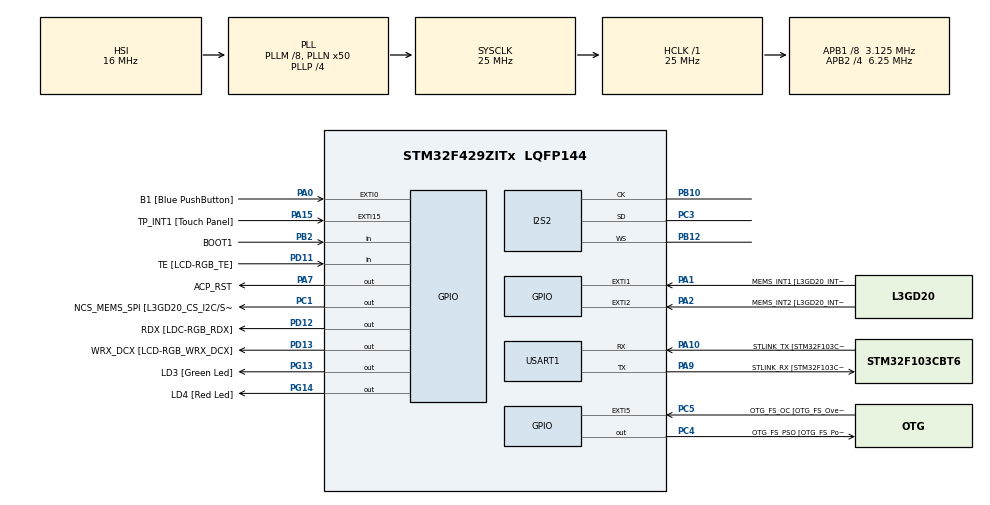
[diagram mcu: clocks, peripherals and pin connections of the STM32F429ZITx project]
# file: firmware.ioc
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Dma.Request0=SPI2_RX
Dma.SPI2_RX.0.Direction=DMA_PERIPH_TO_MEMORY
Dma.SPI2_RX.0.FIFOMode=DMA_FIFOMODE_DISABLE
Dma.SPI2_RX.0.Instance=DMA1_Stream3
Dma.SPI2_RX.0.MemDataAlignment=DMA_MDATAALIGN_WORD
Dma.SPI2_RX.0.MemInc=DMA_MINC_ENABLE
Dma.SPI2_RX.0.Mode=DMA_CIRCULAR
Dma.SPI2_RX.0.PeriphDataAlignment=DMA_PDATAALIGN_WORD
Dma.SPI2_RX.0.PeriphInc=DMA_PINC_DISABLE
Dma.SPI2_RX.0.Priority=DMA_PRIORITY_HIGH
I2S2.AudioFreq=I2S_AUDIOFREQ_16K
I2S2.DataFormat=I2S_DATAFORMAT_24B
I2S2.ErrorAudioFreq=-0.26 %
I2S2.FullDuplexMode=I2S_FULLDUPLEXMODE_DISABLE
I2S2.Instance=SPI$Index
I2S2.Mode=I2S_MODE_MASTER_RX
I2S2.RealAudioFreq=15.957 KHz
I2S2.VirtualMode=I2S_MODE_MASTER
Mcu.Family=STM32F4
Mcu.Name=STM32F429ZITx
Mcu.Package=LQFP144
NVIC.DMA1_Stream3_IRQn=true\:0\:0\:false\:false\:true\:false\:true\:true
NVIC.PriorityGroup=NVIC_PRIORITYGROUP_0
NVIC.SPI2_IRQn=true\:0\:0\:false\:false\:true\:true\:true\:true
PA0/WKUP.GPIO_Label=B1 [Blue PushButton]
PA0/WKUP.GPIO_ModeDefaultEXTI=GPIO_MODE_EVT_RISING
PA0/WKUP.GPIO_PuPd=GPIO_NOPULL
PA0/WKUP.Signal=GPXTI0
PA1.GPIO_Label=MEMS_INT1 [L3GD20_INT1]
PA1.GPIO_ModeDefaultEXTI=GPIO_MODE_EVT_RISING
PA1.GPIO_PuPd=GPIO_NOPULL
PA1.Signal=GPXTI1
PA10.GPIO_Label=STLINK_TX [STM32F103CBT6_PA2]
PA10.Mode=Asynchronous
PA10.Signal=USART1_RX
PA13.GPIO_Label=SWDIO
PA13.Signal=SYS_JTMS-SWDIO
PA14.GPIO_Label=SWCLK
PA14.Signal=SYS_JTCK-SWCLK
PA15.GPIO_Label=TP_INT1 [Touch Panel]
PA15.GPIO_ModeDefaultEXTI=GPIO_MODE_EVT_RISING
PA15.GPIO_PuPd=GPIO_NOPULL
PA15.Signal=GPXTI15
PA2.GPIO_Label=MEMS_INT2 [L3GD20_INT2]
PA2.GPIO_ModeDefaultEXTI=GPIO_MODE_EVT_RISING
PA2.GPIO_PuPd=GPIO_NOPULL
PA2.Signal=GPXTI2
PA3.GPIO_Label=B5
PA3.GPIO_Mode=GPIO_MODE_AF_PP
PA3.GPIO_PuPd=GPIO_NOPULL
PA3.GPIO_Speed=GPIO_SPEED_FREQ_LOW
PA3.Signal=LTDC_B5
PA4.GPIO_Label=VSYNC
PA4.GPIO_Mode=GPIO_MODE_AF_PP
PA4.GPIO_PuPd=GPIO_NOPULL
PA4.GPIO_Speed=GPIO_SPEED_FREQ_LOW
PA4.Signal=LTDC_VSYNC
PA6.GPIO_Label=G2
PA6.GPIO_Mode=GPIO_MODE_AF_PP
PA6.GPIO_PuPd=GPIO_NOPULL
PA6.GPIO_Speed=GPIO_SPEED_FREQ_LOW
PA6.Signal=LTDC_G2
PA7.GPIO_Label=ACP_RST
PA7.GPIO_Mode=GPIO_MODE_OUTPUT_PP
PA7.GPIO_PuPd=GPIO_NOPULL
PA7.GPIO_Speed=GPIO_SPEED_FREQ_LOW
PA7.Signal=GPIO_Output
PA9.GPIO_Label=STLINK_RX [STM32F103CBT6_PA3]
PA9.Mode=Asynchronous
PA9.Signal=USART1_TX
PB0.GPIO_Label=R3
PB0.GPIO_Mode=GPIO_MODE_AF_PP
PB0.GPIO_PuPd=GPIO_NOPULL
PB0.GPIO_Speed=GPIO_SPEED_FREQ_LOW
PB0.Signal=LTDC_R3
PB1.GPIO_Label=R6
PB1.GPIO_Mode=GPIO_MODE_AF_PP
PB1.GPIO_PuPd=GPIO_NOPULL
PB1.GPIO_Speed=GPIO_SPEED_FREQ_LOW
PB1.Signal=LTDC_R6
PB10.Mode=Half_Duplex_Master
PB10.Signal=I2S2_CK
PB11.GPIO_Label=G5
PB11.GPIO_Mode=GPIO_MODE_AF_PP
PB11.GPIO_PuPd=GPIO_NOPULL
PB11.GPIO_Speed=GPIO_SPEED_FREQ_LOW
PB11.Signal=LTDC_G5
PB12.Mode=Half_Duplex_Master
PB12.Signal=I2S2_WS
PB13.GPIO_Label=VBUS_HS
PB13.GPIO_Mode=GPIO_MODE_INPUT
PB13.GPIO_PuPd=GPIO_NOPULL
PB13.Signal=USB_OTG_HS_VBUS
PB14.GPIO_Label=OTG_HS_DM
PB14.GPIO_Mode=GPIO_MODE_AF_PP
PB14.GPIO_PuPd=GPIO_NOPULL
PB14.GPIO_Speed=GPIO_SPEED_FREQ_LOW
PB14.Signal=USB_OTG_HS_DM
PB15.GPIO_Label=OTG_HS_DP
PB15.GPIO_Mode=GPIO_MODE_AF_PP
PB15.GPIO_PuPd=GPIO_NOPULL
PB15.GPIO_Speed=GPIO_SPEED_FREQ_LOW
PB15.Signal=USB_OTG_HS_DP
PB2/BOOT1.GPIO_Label=BOOT1
PB2/BOOT1.GPIO_Mode=GPIO_MODE_INPUT
PB2/BOOT1.GPIO_PuPd=GPIO_NOPULL
PB2/BOOT1.Signal=GPIO_Input
PB5.GPIO_Label=SDCKE1
PB5.GPIO_Mode=GPIO_MODE_AF_PP
PB5.GPIO_PuPd=GPIO_NOPULL
PB5.GPIO_Speed=GPIO_SPEED_FREQ_VERY_HIGH
PB5.Signal=FMC_SDCKE1
PB6.GPIO_Label=SDNE1 [SDRAM_CS]
PB6.GPIO_Mode=GPIO_MODE_AF_PP
PB6.GPIO_PuPd=GPIO_NOPULL
PB6.GPIO_Speed=GPIO_SPEED_FREQ_VERY_HIGH
PB6.Signal=FMC_SDNE1
PB8.GPIO_Label=B6
PB8.GPIO_Mode=GPIO_MODE_AF_PP
PB8.GPIO_PuPd=GPIO_NOPULL
PB8.GPIO_Speed=GPIO_SPEED_FREQ_LOW
PB8.Signal=LTDC_B6
PB9.GPIO_Label=B7
PB9.GPIO_Mode=GPIO_MODE_AF_PP
PB9.GPIO_PuPd=GPIO_NOPULL
PB9.GPIO_Speed=GPIO_SPEED_FREQ_LOW
PB9.Signal=LTDC_B7
PC0.GPIO_Label=SDNWE
PC0.GPIO_Mode=GPIO_MODE_AF_PP
PC0.GPIO_PuPd=GPIO_NOPULL
PC0.GPIO_Speed=GPIO_SPEED_FREQ_VERY_HIGH
PC0.Signal=FMC_SDNWE
PC1.GPIO_Label=NCS_MEMS_SPI [L3GD20_CS_I2C/SPI]
PC1.GPIO_Mode=GPIO_MODE_OUTPUT_PP
PC1.GPIO_PuPd=GPIO_NOPULL
PC1.GPIO_Speed=GPIO_SPEED_FREQ_LOW
PC1.Signal=GPIO_Output
PC10.GPIO_Label=R2
PC10.GPIO_Mode=GPIO_MODE_AF_PP
PC10.GPIO_PuPd=GPIO_NOPULL
PC10.GPIO_Speed=GPIO_SPEED_FREQ_LOW
PC10.Signal=LTDC_R2
PC14/OSC32_IN.GPIO_Label=PC14-OSC32_IN
PC14/OSC32_IN.Signal=RCC_OSC32_IN
PC15/OSC32_OUT.GPIO_Label=PC15-OSC32_OUT
PC15/OSC32_OUT.Signal=RCC_OSC32_OUT
PC3.Mode=Half_Duplex_Master
PC3.Signal=I2S2_SD
PC4.GPIO_Label=OTG_FS_PSO [OTG_FS_PowerSwitchOn]
PC4.GPIO_Mode=GPIO_MODE_OUTPUT_PP
PC4.GPIO_PuPd=GPIO_NOPULL
PC4.GPIO_Speed=GPIO_SPEED_FREQ_LOW
PC4.Signal=GPIO_Output
PC5.GPIO_Label=OTG_FS_OC [OTG_FS_OverCurrent]
PC5.GPIO_ModeDefaultEXTI=GPIO_MODE_EVT_RISING
PC5.Signal=GPXTI5
PC7.GPIO_Label=G6
PC7.GPIO_Mode=GPIO_MODE_AF_PP
PC7.GPIO_PuPd=GPIO_NOPULL
PC7.GPIO_Speed=GPIO_SPEED_FREQ_LOW
PC7.Signal=LTDC_G6
PC9.GPIO_Label=I2C3_SDA [ACP/RF_SDA]
PC9.GPIO_Mode=GPIO_MODE_AF_OD
PC9.GPIO_PuPd=GPIO_NOPULL
PC9.GPIO_Speed=GPIO_SPEED_FREQ_LOW
PC9.Signal=I2C3_SDA
PD0.GPIO_Label=D2
PD0.GPIO_Mode=GPIO_MODE_AF_PP
PD0.GPIO_PuPd=GPIO_NOPULL
PD0.GPIO_Speed=GPIO_SPEED_FREQ_VERY_HIGH
PD0.Signal=FMC_D2_DA2
PD1.GPIO_Label=D3
PD1.GPIO_Mode=GPIO_MODE_AF_PP
PD1.GPIO_PuPd=GPIO_NOPULL
PD1.GPIO_Speed=GPIO_SPEED_FREQ_VERY_HIGH
PD1.Signal=FMC_D3_DA3
PD10.GPIO_Label=D15
PD10.GPIO_Mode=GPIO_MODE_AF_PP
PD10.GPIO_PuPd=GPIO_NOPULL
PD10.GPIO_Speed=GPIO_SPEED_FREQ_VERY_HIGH
PD10.Signal=FMC_D15_DA15
PD11.GPIO_Label=TE [LCD-RGB_TE]
PD11.GPIO_Mode=GPIO_MODE_INPUT
PD11.GPIO_PuPd=GPIO_NOPULL
PD11.Signal=GPIO_Input
PD12.GPIO_Label=RDX [LDC-RGB_RDX]
PD12.GPIO_Mode=GPIO_MODE_OUTPUT_PP
PD12.GPIO_PuPd=GPIO_NOPULL
PD12.GPIO_Speed=GPIO_SPEED_FREQ_LOW
PD12.Signal=GPIO_Output
PD13.GPIO_Label=WRX_DCX [LCD-RGB_WRX_DCX]
PD13.GPIO_Mode=GPIO_MODE_OUTPUT_PP
PD13.GPIO_PuPd=GPIO_NOPULL
PD13.GPIO_Speed=GPIO_SPEED_FREQ_LOW
PD13.Signal=GPIO_Output
PD14.GPIO_Label=D0
PD14.GPIO_Mode=GPIO_MODE_AF_PP
PD14.GPIO_PuPd=GPIO_NOPULL
PD14.GPIO_Speed=GPIO_SPEED_FREQ_VERY_HIGH
PD14.Signal=FMC_D0_DA0
PD15.GPIO_Label=D1
PD15.GPIO_Mode=GPIO_MODE_AF_PP
PD15.GPIO_PuPd=GPIO_NOPULL
PD15.GPIO_Speed=GPIO_SPEED_FREQ_VERY_HIGH
PD15.Signal=FMC_D1_DA1
PD3.GPIO_Label=G7
PD3.GPIO_Mode=GPIO_MODE_AF_PP
PD3.GPIO_PuPd=GPIO_NOPULL
PD3.GPIO_Speed=GPIO_SPEED_FREQ_LOW
PD3.Signal=LTDC_G7
PD6.GPIO_Label=B2
PD6.GPIO_Mode=GPIO_MODE_AF_PP
PD6.GPIO_PuPd=GPIO_NOPULL
PD6.GPIO_Speed=GPIO_SPEED_FREQ_LOW
PD6.Signal=LTDC_B2
PD8.GPIO_Label=D13
PD8.GPIO_Mode=GPIO_MODE_AF_PP
PD8.GPIO_PuPd=GPIO_NOPULL
PD8.GPIO_Speed=GPIO_SPEED_FREQ_VERY_HIGH
PD8.Signal=FMC_D13_DA13
PD9.GPIO_Label=D14
PD9.GPIO_Mode=GPIO_MODE_AF_PP
PD9.GPIO_PuPd=GPIO_NOPULL
PD9.GPIO_Speed=GPIO_SPEED_FREQ_VERY_HIGH
PD9.Signal=FMC_D14_DA14
PE0.GPIO_Label=NBL0 [SDRAM_LDQM]
PE0.GPIO_Mode=GPIO_MODE_AF_PP
PE0.GPIO_PuPd=GPIO_NOPULL
PE0.GPIO_Speed=GPIO_SPEED_FREQ_VERY_HIGH
PE0.Signal=FMC_NBL0
PE1.GPIO_Label=NBL1 [SDRAM_UDQM]
PE1.GPIO_Mode=GPIO_MODE_AF_PP
PE1.GPIO_PuPd=GPIO_NOPULL
PE1.GPIO_Speed=GPIO_SPEED_FREQ_VERY_HIGH
PE1.Signal=FMC_NBL1
PE10.GPIO_Label=D7
PE10.GPIO_Mode=GPIO_MODE_AF_PP
PE10.GPIO_PuPd=GPIO_NOPULL
PE10.GPIO_Speed=GPIO_SPEED_FREQ_VERY_HIGH
PE10.Signal=FMC_D7_DA7
PE11.GPIO_Label=D8
PE11.GPIO_Mode=GPIO_MODE_AF_PP
PE11.GPIO_PuPd=GPIO_NOPULL
PE11.GPIO_Speed=GPIO_SPEED_FREQ_VERY_HIGH
PE11.Signal=FMC_D8_DA8
PE12.GPIO_Label=D9
PE12.GPIO_Mode=GPIO_MODE_AF_PP
PE12.GPIO_PuPd=GPIO_NOPULL
PE12.GPIO_Speed=GPIO_SPEED_FREQ_VERY_HIGH
PE12.Signal=FMC_D9_DA9
PE13.GPIO_Label=D10
PE13.GPIO_Mode=GPIO_MODE_AF_PP
PE13.GPIO_PuPd=GPIO_NOPULL
PE13.GPIO_Speed=GPIO_SPEED_FREQ_VERY_HIGH
PE13.Signal=FMC_D10_DA10
PE14.GPIO_Label=D11
PE14.GPIO_Mode=GPIO_MODE_AF_PP
PE14.GPIO_PuPd=GPIO_NOPULL
PE14.GPIO_Speed=GPIO_SPEED_FREQ_VERY_HIGH
PE14.Signal=FMC_D11_DA11
PE15.GPIO_Label=D12
PE15.GPIO_Mode=GPIO_MODE_AF_PP
PE15.GPIO_PuPd=GPIO_NOPULL
PE15.GPIO_Speed=GPIO_SPEED_FREQ_VERY_HIGH
PE15.Signal=FMC_D12_DA12
PE7.GPIO_Label=D4
PE7.GPIO_Mode=GPIO_MODE_AF_PP
PE7.GPIO_PuPd=GPIO_NOPULL
PE7.GPIO_Speed=GPIO_SPEED_FREQ_VERY_HIGH
PE7.Signal=FMC_D4_DA4
PE8.GPIO_Label=D5
PE8.GPIO_Mode=GPIO_MODE_AF_PP
PE8.GPIO_PuPd=GPIO_NOPULL
PE8.GPIO_Speed=GPIO_SPEED_FREQ_VERY_HIGH
PE8.Signal=FMC_D5_DA5
PE9.GPIO_Label=D6
PE9.GPIO_Mode=GPIO_MODE_AF_PP
PE9.GPIO_PuPd=GPIO_NOPULL
PE9.GPIO_Speed=GPIO_SPEED_FREQ_VERY_HIGH
PE9.Signal=FMC_D6_DA6
PF0.GPIO_Label=A0
PF0.GPIO_Mode=GPIO_MODE_AF_PP
PF0.GPIO_PuPd=GPIO_NOPULL
PF0.GPIO_Speed=GPIO_SPEED_FREQ_VERY_HIGH
PF0.Signal=FMC_A0
PF1.GPIO_Label=A1
PF1.GPIO_Mode=GPIO_MODE_AF_PP
PF1.GPIO_PuPd=GPIO_NOPULL
PF1.GPIO_Speed=GPIO_SPEED_FREQ_VERY_HIGH
PF1.Signal=FMC_A1
PF10.GPIO_Label=ENABLE [LCD-RGB_ENABLE]
PF10.GPIO_Mode=GPIO_MODE_AF_PP
PF10.GPIO_PuPd=GPIO_NOPULL
PF10.GPIO_Speed=GPIO_SPEED_FREQ_LOW
PF10.Signal=LTDC_DE
PF11.GPIO_Label=SDNRAS
PF11.GPIO_Mode=GPIO_MODE_AF_PP
PF11.GPIO_PuPd=GPIO_NOPULL
PF11.GPIO_Speed=GPIO_SPEED_FREQ_VERY_HIGH
PF11.Signal=FMC_SDNRAS
PF12.GPIO_Label=A6
PF12.GPIO_Mode=GPIO_MODE_AF_PP
PF12.GPIO_PuPd=GPIO_NOPULL
PF12.GPIO_Speed=GPIO_SPEED_FREQ_VERY_HIGH
PF12.Signal=FMC_A6
PF13.GPIO_Label=A7
PF13.GPIO_Mode=GPIO_MODE_AF_PP
PF13.GPIO_PuPd=GPIO_NOPULL
PF13.GPIO_Speed=GPIO_SPEED_FREQ_VERY_HIGH
PF13.Signal=FMC_A7
PF14.GPIO_Label=A8
PF14.GPIO_Mode=GPIO_MODE_AF_PP
PF14.GPIO_PuPd=GPIO_NOPULL
PF14.GPIO_Speed=GPIO_SPEED_FREQ_VERY_HIGH
PF14.Signal=FMC_A8
PF15.GPIO_Label=A9
PF15.GPIO_Mode=GPIO_MODE_AF_PP
PF15.GPIO_PuPd=GPIO_NOPULL
PF15.GPIO_Speed=GPIO_SPEED_FREQ_VERY_HIGH
PF15.Signal=FMC_A9
PF2.GPIO_Label=A2
PF2.GPIO_Mode=GPIO_MODE_AF_PP
PF2.GPIO_PuPd=GPIO_NOPULL
PF2.GPIO_Speed=GPIO_SPEED_FREQ_VERY_HIGH
PF2.Signal=FMC_A2
PF3.GPIO_Label=A3
PF3.GPIO_Mode=GPIO_MODE_AF_PP
PF3.GPIO_PuPd=GPIO_NOPULL
PF3.GPIO_Speed=GPIO_SPEED_FREQ_VERY_HIGH
PF3.Signal=FMC_A3
PF4.GPIO_Label=A4
PF4.GPIO_Mode=GPIO_MODE_AF_PP
PF4.GPIO_PuPd=GPIO_NOPULL
PF4.GPIO_Speed=GPIO_SPEED_FREQ_VERY_HIGH
PF4.Signal=FMC_A4
PF5.GPIO_Label=A5
PF5.GPIO_Mode=GPIO_MODE_AF_PP
PF5.GPIO_PuPd=GPIO_NOPULL
PF5.GPIO_Speed=GPIO_SPEED_FREQ_VERY_HIGH
PF5.Signal=FMC_A5
PF7.GPIO_Label=SPI5_SCK [L3GD20_SCL/SPC]
PF7.GPIO_Mode=GPIO_MODE_AF_PP
PF7.GPIO_PuPd=GPIO_NOPULL
PF7.GPIO_Speed=GPIO_SPEED_FREQ_LOW
PF7.Signal=SPI5_SCK
PF8.GPIO_Label=SPI5_MISO [L3GD20_SDO]
PF8.GPIO_Mode=GPIO_MODE_AF_PP
PF8.GPIO_PuPd=GPIO_NOPULL
PF8.GPIO_Speed=GPIO_SPEED_FREQ_LOW
PF8.Signal=SPI5_MISO
PF9.GPIO_Label=SPI5_MOSI [L3GD20_SDA/SDI/SDO]
PF9.GPIO_Mode=GPIO_MODE_AF_PP
PF9.GPIO_PuPd=GPIO_NOPULL
PF9.GPIO_Speed=GPIO_SPEED_FREQ_LOW
PF9.Signal=SPI5_MOSI
PG0.GPIO_Label=A10
PG0.GPIO_Mode=GPIO_MODE_AF_PP
PG0.GPIO_PuPd=GPIO_NOPULL
PG0.GPIO_Speed=GPIO_SPEED_FREQ_VERY_HIGH
PG0.Signal=FMC_A10
PG1.GPIO_Label=A11
PG1.GPIO_Mode=GPIO_MODE_AF_PP
PG1.GPIO_PuPd=GPIO_NOPULL
PG1.GPIO_Speed=GPIO_SPEED_FREQ_VERY_HIGH
PG1.Signal=FMC_A11
PG10.GPIO_Label=G3
PG10.GPIO_Mode=GPIO_MODE_AF_PP
PG10.GPIO_PuPd=GPIO_NOPULL
PG10.GPIO_Speed=GPIO_SPEED_FREQ_LOW
PG10.Signal=LTDC_G3
PG11.GPIO_Label=B3
PG11.GPIO_Mode=GPIO_MODE_AF_PP
PG11.GPIO_PuPd=GPIO_NOPULL
PG11.GPIO_Speed=GPIO_SPEED_FREQ_LOW
PG11.Signal=LTDC_B3
PG12.GPIO_Label=B4
PG12.GPIO_Mode=GPIO_MODE_AF_PP
PG12.GPIO_PuPd=GPIO_NOPULL
PG12.GPIO_Speed=GPIO_SPEED_FREQ_LOW
PG12.Signal=LTDC_B4
PG13.GPIO_Label=LD3 [Green Led]
PG13.GPIO_Mode=GPIO_MODE_OUTPUT_PP
PG13.GPIO_PuPd=GPIO_NOPULL
PG13.GPIO_Speed=GPIO_SPEED_FREQ_LOW
PG13.Signal=GPIO_Output
PG14.GPIO_Label=LD4 [Red Led]
PG14.GPIO_Mode=GPIO_MODE_OUTPUT_PP
PG14.GPIO_PuPd=GPIO_NOPULL
PG14.GPIO_Speed=GPIO_SPEED_FREQ_LOW
PG14.Signal=GPIO_Output
PG15.GPIO_Label=SDNCAS
PG15.GPIO_Mode=GPIO_MODE_AF_PP
PG15.GPIO_PuPd=GPIO_NOPULL
PG15.GPIO_Speed=GPIO_SPEED_FREQ_VERY_HIGH
PG15.Signal=FMC_SDNCAS
PG4.GPIO_Label=BA0
PG4.GPIO_Mode=GPIO_MODE_AF_PP
PG4.GPIO_PuPd=GPIO_NOPULL
PG4.GPIO_Speed=GPIO_SPEED_FREQ_VERY_HIGH
PG4.Signal=FMC_A14_BA0
PG5.GPIO_Label=BA1
PG5.GPIO_Mode=GPIO_MODE_AF_PP
PG5.GPIO_PuPd=GPIO_NOPULL
PG5.GPIO_Speed=GPIO_SPEED_FREQ_VERY_HIGH
PG5.Signal=FMC_A15_BA1
PG6.GPIO_Label=R7
PG6.GPIO_Mode=GPIO_MODE_AF_PP
PG6.GPIO_PuPd=GPIO_NOPULL
PG6.GPIO_Speed=GPIO_SPEED_FREQ_LOW
PG6.Signal=LTDC_R7
PG7.GPIO_Label=DOTCLK [LCT-RGB_DOTCLK]
PG7.GPIO_Mode=GPIO_MODE_AF_PP
PG7.GPIO_PuPd=GPIO_NOPULL
PG7.GPIO_Speed=GPIO_SPEED_FREQ_LOW
PG7.Signal=LTDC_CLK
PG8.GPIO_Label=SDCLK
PG8.GPIO_Mode=GPIO_MODE_AF_PP
PG8.GPIO_PuPd=GPIO_NOPULL
PG8.GPIO_Speed=GPIO_SPEED_FREQ_VERY_HIGH
PG8.Signal=FMC_SDCLK
PH0/OSC_IN.GPIO_Label=PH0-OSC_IN
PH0/OSC_IN.Signal=RCC_OSC_IN
PH1/OSC_OUT.GPIO_Label=PH1-OSC_OUT
PH1/OSC_OUT.Signal=RCC_OSC_OUT
ProjectManager.HeapSize=0x200
ProjectManager.StackSize=0x400
ProjectManager.TargetToolchain=STM32CubeIDE
RCC.48MHZClocksFreq_Value=14285714.285714285
RCC.AHBFreq_Value=25000000
RCC.APB1CLKDivider=RCC_HCLK_DIV8
RCC.APB1Freq_Value=3125000
RCC.APB1TimFreq_Value=6250000
RCC.APB2CLKDivider=RCC_HCLK_DIV4
RCC.APB2Freq_Value=6250000
RCC.APB2TimFreq_Value=12500000
RCC.CortexFreq_Value=25000000
RCC.HCLKFreq_Value=25000000
RCC.HSE_VALUE=8000000
RCC.HSI_VALUE=16000000
RCC.LSE_VALUE=32768
RCC.PLLM=8
RCC.PLLN=50
RCC.PLLP=RCC_PLLP_DIV4
RCC.PLLQ=7
RCC.SYSCLKFreq_VALUE=25000000
RCC.SYSCLKSource=RCC_SYSCLKSOURCE_PLLCLK
RCC.VCOOutputFreq_Value=100000000
SH.FMC_A0.0=FMC_A0
SH.FMC_A1.0=FMC_A1
SH.FMC_A10.0=FMC_A10
SH.FMC_A11.0=FMC_A11
SH.FMC_A14_BA0.0=FMC_BA0
SH.FMC_A15_BA1.0=FMC_BA1
SH.FMC_A2.0=FMC_A2
SH.FMC_A3.0=FMC_A3
SH.FMC_A4.0=FMC_A4
SH.FMC_A5.0=FMC_A5
SH.FMC_A6.0=FMC_A6
SH.FMC_A7.0=FMC_A7
SH.FMC_A8.0=FMC_A8
SH.FMC_A9.0=FMC_A9
SH.FMC_D0_DA0.0=FMC_D0
SH.FMC_D10_DA10.0=FMC_D10
SH.FMC_D11_DA11.0=FMC_D11
SH.FMC_D12_DA12.0=FMC_D12
SH.FMC_D13_DA13.0=FMC_D13
SH.FMC_D14_DA14.0=FMC_D14
SH.FMC_D15_DA15.0=FMC_D15
SH.FMC_D1_DA1.0=FMC_D1
SH.FMC_D2_DA2.0=FMC_D2
SH.FMC_D3_DA3.0=FMC_D3
SH.FMC_D4_DA4.0=FMC_D4
SH.FMC_D5_DA5.0=FMC_D5
SH.FMC_D6_DA6.0=FMC_D6
SH.FMC_D7_DA7.0=FMC_D7
SH.FMC_D8_DA8.0=FMC_D8
SH.FMC_D9_DA9.0=FMC_D9
SH.FMC_NBL0.0=FMC_NBL0
SH.FMC_NBL1.0=FMC_NBL1
SH.FMC_SDCLK.0=FMC_SDCLK
SH.FMC_SDNCAS.0=FMC_SDNCAS
SH.FMC_SDNRAS.0=FMC_SDNRAS
SH.FMC_SDNWE.0=FMC_SDNWE
USART1.VirtualMode=VM_ASYNC
board=STM32F429I-DISC1

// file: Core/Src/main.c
/* USER CODE BEGIN Header */
/**
  ******************************************************************************
  * @file           : main.c
  * @brief          : Main program body
  ******************************************************************************
  * @attention
  *
  * Copyright (c) 2025 STMicroelectronics.
  * All rights reserved.
  *
  * This software is licensed under terms that can be found in the LICENSE file
  * in the root directory of this software component.
  * If no LICENSE file comes with this software, it is provided AS-IS.
  *
  ******************************************************************************
  */
/* USER CODE END Header */
#include "main.h"

/* USER CODE BEGIN Includes */
#include "arm_math.h"
#include "feature_energy.h"
/* USER CODE END Includes */

/* USER CODE BEGIN PD */
#define AUDIO_BUF_SIZE 16
/* USER CODE END PD */

I2S_HandleTypeDef hi2s2;
DMA_HandleTypeDef hdma_spi2_rx;

UART_HandleTypeDef huart1;

/* USER CODE BEGIN PV */
int32_t raw_audio_i2s[AUDIO_BUF_SIZE];
float32_t audio_buff[AUDIO_BUF_SIZE];
char uart_buf[32];
volatile int frame_ready_flag=0;
volatile uint8_t active_half = 0; // 0 = first half, 1 = second half
volatile uint32_t callback_count = 0;  // ADD THIS

/* USER CODE END PV */

void SystemClock_Config(void);
static void MX_GPIO_Init(void);
static void MX_DMA_Init(void);
static void MX_I2S2_Init(void);
static void MX_USART1_UART_Init(void);

int main(void)
{

  /* MCU Configuration--------------------------------------------------------*/

  /* Reset of all peripherals, Initializes the Flash interface and the Systick. */
  HAL_Init();

  /* Configure the system clock */
  SystemClock_Config();

  /* Initialize all configured peripherals */
  MX_GPIO_Init();
  MX_DMA_Init();
  MX_I2S2_Init();
  MX_USART1_UART_Init();
  /* USER CODE BEGIN 2 */

  // Start I2S reception with DMA - CORRECTED
  HAL_GPIO_WritePin(GPIOG, GPIO_PIN_13, GPIO_PIN_SET); // Turn on LD3 (green LED)
  if(HAL_I2S_Receive_DMA(&hi2s2, (uint16_t*)raw_audio_i2s, AUDIO_BUF_SIZE) != HAL_OK)
  {
      HAL_GPIO_WritePin(GPIOG, GPIO_PIN_14, GPIO_PIN_SET); // Error - turn on LD4 (red LED)
      Error_Handler();
  }

  /* USER CODE END 2 */

  /* Infinite loop */
  while (1)
  {

    /* USER CODE BEGIN 3 */

	  static uint32_t last_count = 0;
	  static uint32_t tick = 0;

	  if(HAL_GetTick() - tick > 1000) {  // Every second
	      tick = HAL_GetTick();
	      snprintf(uart_buf, sizeof(uart_buf), "Callbacks: %lu, Flag: %d\r\n",
	               callback_count - last_count, frame_ready_flag);
	      HAL_UART_Transmit(&huart1, (uint8_t*)uart_buf, strlen(uart_buf), 100);
	      last_count = callback_count;
	  }

	  if (frame_ready_flag){
		  frame_ready_flag = 0; //clearing the frame ready flag
		    // uint32_t start = active_half ? AUDIO_BUF_SIZE/2 : 0;
		  for (uint32_t i = 0; i < 8; i++) {  //or (uint32_t i = start; i < start + AUDIO_BUF_SIZE/2; i++)
			  int32_t sample = (int32_t)(audio_buff[i]* 8388608.0f);
			  snprintf(uart_buf, sizeof(uart_buf), "%ld\r\n", sample);
			  HAL_UART_Transmit(&huart1, (uint8_t*)uart_buf, strlen(uart_buf), 100);
		  }
	  }
  }
  /* USER CODE END 3 */
}

void SystemClock_Config(void)
{
  RCC_OscInitTypeDef RCC_OscInitStruct = {0};
  RCC_ClkInitTypeDef RCC_ClkInitStruct = {0};

  /** Configure the main internal regulator output voltage
  */
  __HAL_RCC_PWR_CLK_ENABLE();
  __HAL_PWR_VOLTAGESCALING_CONFIG(PWR_REGULATOR_VOLTAGE_SCALE3);

  /** Initializes the RCC Oscillators according to the specified parameters
  * in the RCC_OscInitTypeDef structure.
  */
  RCC_OscInitStruct.OscillatorType = RCC_OSCILLATORTYPE_HSI;
  RCC_OscInitStruct.HSIState = RCC_HSI_ON;
  RCC_OscInitStruct.HSICalibrationValue = RCC_HSICALIBRATION_DEFAULT;
  RCC_OscInitStruct.PLL.PLLState = RCC_PLL_ON;
  RCC_OscInitStruct.PLL.PLLSource = RCC_PLLSOURCE_HSI;
  RCC_OscInitStruct.PLL.PLLM = 8;
  RCC_OscInitStruct.PLL.PLLN = 50;
  RCC_OscInitStruct.PLL.PLLP = RCC_PLLP_DIV4;
  RCC_OscInitStruct.PLL.PLLQ = 7;
  if (HAL_RCC_OscConfig(&RCC_OscInitStruct) != HAL_OK)
  {
    Error_Handler();
  }

  /** Initializes the CPU, AHB and APB buses clocks
  */
  RCC_ClkInitStruct.ClockType = RCC_CLOCKTYPE_HCLK|RCC_CLOCKTYPE_SYSCLK
                              |RCC_CLOCKTYPE_PCLK1|RCC_CLOCKTYPE_PCLK2;
  RCC_ClkInitStruct.SYSCLKSource = RCC_SYSCLKSOURCE_PLLCLK;
  RCC_ClkInitStruct.AHBCLKDivider = RCC_SYSCLK_DIV1;
  RCC_ClkInitStruct.APB1CLKDivider = RCC_HCLK_DIV8;
  RCC_ClkInitStruct.APB2CLKDivider = RCC_HCLK_DIV4;

  if (HAL_RCC_ClockConfig(&RCC_ClkInitStruct, FLASH_LATENCY_0) != HAL_OK)
  {
    Error_Handler();
  }
}

static void MX_I2S2_Init(void)
{

  hi2s2.Instance = SPI2;
  hi2s2.Init.Mode = I2S_MODE_MASTER_RX;
  hi2s2.Init.Standard = I2S_STANDARD_PHILIPS;
  hi2s2.Init.DataFormat = I2S_DATAFORMAT_24B;
  hi2s2.Init.MCLKOutput = I2S_MCLKOUTPUT_DISABLE;
  hi2s2.Init.AudioFreq = I2S_AUDIOFREQ_16K;
  hi2s2.Init.CPOL = I2S_CPOL_LOW;
  hi2s2.Init.ClockSource = I2S_CLOCK_PLL;
  hi2s2.Init.FullDuplexMode = I2S_FULLDUPLEXMODE_DISABLE;
  if (HAL_I2S_Init(&hi2s2) != HAL_OK)
  {
    Error_Handler();
  }

}

static void MX_USART1_UART_Init(void)
{

  huart1.Instance = USART1;
  huart1.Init.BaudRate = 115200;
  huart1.Init.WordLength = UART_WORDLENGTH_8B;
  huart1.Init.StopBits = UART_STOPBITS_1;
  huart1.Init.Parity = UART_PARITY_NONE;
  huart1.Init.Mode = UART_MODE_TX_RX;
  huart1.Init.HwFlowCtl = UART_HWCONTROL_NONE;
  huart1.Init.OverSampling = UART_OVERSAMPLING_16;
  if (HAL_UART_Init(&huart1) != HAL_OK)
  {
    Error_Handler();
  }

}

static void MX_DMA_Init(void)
{

  /* DMA controller clock enable */
  __HAL_RCC_DMA1_CLK_ENABLE();

  /* DMA interrupt init */
  /* DMA1_Stream3_IRQn interrupt configuration */
  HAL_NVIC_SetPriority(DMA1_Stream3_IRQn, 0, 0);
  HAL_NVIC_EnableIRQ(DMA1_Stream3_IRQn);

}

static void MX_GPIO_Init(void)
{
  GPIO_InitTypeDef GPIO_InitStruct = {0};

  /* GPIO Ports Clock Enable */
  __HAL_RCC_GPIOC_CLK_ENABLE();
  __HAL_RCC_GPIOF_CLK_ENABLE();
  __HAL_RCC_GPIOH_CLK_ENABLE();
  __HAL_RCC_GPIOA_CLK_ENABLE();
  __HAL_RCC_GPIOB_CLK_ENABLE();
  __HAL_RCC_GPIOG_CLK_ENABLE();
  __HAL_RCC_GPIOE_CLK_ENABLE();
  __HAL_RCC_GPIOD_CLK_ENABLE();

  /*Configure GPIO pin Output Level */
  HAL_GPIO_WritePin(GPIOC, NCS_MEMS_SPI_Pin|OTG_FS_PSO_Pin, GPIO_PIN_RESET);

  /*Configure GPIO pin Output Level */
  HAL_GPIO_WritePin(ACP_RST_GPIO_Port, ACP_RST_Pin, GPIO_PIN_RESET);

  /*Configure GPIO pin Output Level */
  HAL_GPIO_WritePin(GPIOD, RDX_Pin|WRX_DCX_Pin, GPIO_PIN_RESET);

  /*Configure GPIO pin Output Level */
  HAL_GPIO_WritePin(GPIOG, LD3_Pin|LD4_Pin, GPIO_PIN_RESET);

  /*Configure GPIO pins : A0_Pin A1_Pin A2_Pin A3_Pin
                           A4_Pin A5_Pin SDNRAS_Pin A6_Pin
                           A7_Pin A8_Pin A9_Pin */
  GPIO_InitStruct.Pin = A0_Pin|A1_Pin|A2_Pin|A3_Pin
                          |A4_Pin|A5_Pin|SDNRAS_Pin|A6_Pin
                          |A7_Pin|A8_Pin|A9_Pin;
  GPIO_InitStruct.Mode = GPIO_MODE_AF_PP;
  GPIO_InitStruct.Pull = GPIO_NOPULL;
  GPIO_InitStruct.Speed = GPIO_SPEED_FREQ_VERY_HIGH;
  GPIO_InitStruct.Alternate = GPIO_AF12_FMC;
  HAL_GPIO_Init(GPIOF, &GPIO_InitStruct);

  /*Configure GPIO pins : SPI5_SCK_Pin SPI5_MISO_Pin SPI5_MOSI_Pin */
  GPIO_InitStruct.Pin = SPI5_SCK_Pin|SPI5_MISO_Pin|SPI5_MOSI_Pin;
  GPIO_InitStruct.Mode = GPIO_MODE_AF_PP;
  GPIO_InitStruct.Pull = GPIO_NOPULL;
  GPIO_InitStruct.Speed = GPIO_SPEED_FREQ_LOW;
  GPIO_InitStruct.Alternate = GPIO_AF5_SPI5;
  HAL_GPIO_Init(GPIOF, &GPIO_InitStruct);

  /*Configure GPIO pin : ENABLE_Pin */
  GPIO_InitStruct.Pin = ENABLE_Pin;
  GPIO_InitStruct.Mode = GPIO_MODE_AF_PP;
  GPIO_InitStruct.Pull = GPIO_NOPULL;
  GPIO_InitStruct.Speed = GPIO_SPEED_FREQ_LOW;
  GPIO_InitStruct.Alternate = GPIO_AF14_LTDC;
  HAL_GPIO_Init(ENABLE_GPIO_Port, &GPIO_InitStruct);

  /*Configure GPIO pin : SDNWE_Pin */
  GPIO_InitStruct.Pin = SDNWE_Pin;
  GPIO_InitStruct.Mode = GPIO_MODE_AF_PP;
  GPIO_InitStruct.Pull = GPIO_NOPULL;
  GPIO_InitStruct.Speed = GPIO_SPEED_FREQ_VERY_HIGH;
  GPIO_InitStruct.Alternate = GPIO_AF12_FMC;
  HAL_GPIO_Init(SDNWE_GPIO_Port, &GPIO_InitStruct);

  /*Configure GPIO pins : NCS_MEMS_SPI_Pin OTG_FS_PSO_Pin */
  GPIO_InitStruct.Pin = NCS_MEMS_SPI_Pin|OTG_FS_PSO_Pin;
  GPIO_InitStruct.Mode = GPIO_MODE_OUTPUT_PP;
  GPIO_InitStruct.Pull = GPIO_NOPULL;
  GPIO_InitStruct.Speed = GPIO_SPEED_FREQ_LOW;
  HAL_GPIO_Init(GPIOC, &GPIO_InitStruct);

  /*Configure GPIO pins : B1_Pin MEMS_INT1_Pin MEMS_INT2_Pin TP_INT1_Pin */
  GPIO_InitStruct.Pin = B1_Pin|MEMS_INT1_Pin|MEMS_INT2_Pin|TP_INT1_Pin;
  GPIO_InitStruct.Mode = GPIO_MODE_EVT_RISING;
  GPIO_InitStruct.Pull = GPIO_NOPULL;
  HAL_GPIO_Init(GPIOA, &GPIO_InitStruct);

  /*Configure GPIO pins : B5_Pin VSYNC_Pin G2_Pin */
  GPIO_InitStruct.Pin = B5_Pin|VSYNC_Pin|G2_Pin;
  GPIO_InitStruct.Mode = GPIO_MODE_AF_PP;
  GPIO_InitStruct.Pull = GPIO_NOPULL;
  GPIO_InitStruct.Speed = GPIO_SPEED_FREQ_LOW;
  GPIO_InitStruct.Alternate = GPIO_AF14_LTDC;
  HAL_GPIO_Init(GPIOA, &GPIO_InitStruct);

  /*Configure GPIO pin : ACP_RST_Pin */
  GPIO_InitStruct.Pin = ACP_RST_Pin;
  GPIO_InitStruct.Mode = GPIO_MODE_OUTPUT_PP;
  GPIO_InitStruct.Pull = GPIO_NOPULL;
  GPIO_InitStruct.Speed = GPIO_SPEED_FREQ_LOW;
  HAL_GPIO_Init(ACP_RST_GPIO_Port, &GPIO_InitStruct);

  /*Configure GPIO pin : OTG_FS_OC_Pin */
  GPIO_InitStruct.Pin = OTG_FS_OC_Pin;
  GPIO_InitStruct.Mode = GPIO_MODE_EVT_RISING;
  GPIO_InitStruct.Pull = GPIO_NOPULL;
  HAL_GPIO_Init(OTG_FS_OC_GPIO_Port, &GPIO_InitStruct);

  /*Configure GPIO pins : R3_Pin R6_Pin */
  GPIO_InitStruct.Pin = R3_Pin|R6_Pin;
  GPIO_InitStruct.Mode = GPIO_MODE_AF_PP;
  GPIO_InitStruct.Pull = GPIO_NOPULL;
  GPIO_InitStruct.Speed = GPIO_SPEED_FREQ_LOW;
  GPIO_InitStruct.Alternate = GPIO_AF9_LTDC;
  HAL_GPIO_Init(GPIOB, &GPIO_InitStruct);

  /*Configure GPIO pin : BOOT1_Pin */
  GPIO_InitStruct.Pin = BOOT1_Pin;
  GPIO_InitStruct.Mode = GPIO_MODE_INPUT;
  GPIO_InitStruct.Pull = GPIO_NOPULL;
  HAL_GPIO_Init(BOOT1_GPIO_Port, &GPIO_InitStruct);

  /*Configure GPIO pins : A10_Pin A11_Pin BA0_Pin BA1_Pin
                           SDCLK_Pin SDNCAS_Pin */
  GPIO_InitStruct.Pin = A10_Pin|A11_Pin|BA0_Pin|BA1_Pin
                          |SDCLK_Pin|SDNCAS_Pin;
  GPIO_InitStruct.Mode = GPIO_MODE_AF_PP;
  GPIO_InitStruct.Pull = GPIO_NOPULL;
  GPIO_InitStruct.Speed = GPIO_SPEED_FREQ_VERY_HIGH;
  GPIO_InitStruct.Alternate = GPIO_AF12_FMC;
  HAL_GPIO_Init(GPIOG, &GPIO_InitStruct);

  /*Configure GPIO pins : D4_Pin D5_Pin D6_Pin D7_Pin
                           D8_Pin D9_Pin D10_Pin D11_Pin
                           D12_Pin NBL0_Pin NBL1_Pin */
  GPIO_InitStruct.Pin = D4_Pin|D5_Pin|D6_Pin|D7_Pin
                          |D8_Pin|D9_Pin|D10_Pin|D11_Pin
                          |D12_Pin|NBL0_Pin|NBL1_Pin;
  GPIO_InitStruct.Mode = GPIO_MODE_AF_PP;
  GPIO_InitStruct.Pull = GPIO_NOPULL;
  GPIO_InitStruct.Speed = GPIO_SPEED_FREQ_VERY_HIGH;
  GPIO_InitStruct.Alternate = GPIO_AF12_FMC;
  HAL_GPIO_Init(GPIOE, &GPIO_InitStruct);

  /*Configure GPIO pins : G5_Pin B6_Pin B7_Pin */
  GPIO_InitStruct.Pin = G5_Pin|B6_Pin|B7_Pin;
  GPIO_InitStruct.Mode = GPIO_MODE_AF_PP;
  GPIO_InitStruct.Pull = GPIO_NOPULL;
  GPIO_InitStruct.Speed = GPIO_SPEED_FREQ_LOW;
  GPIO_InitStruct.Alternate = GPIO_AF14_LTDC;
  HAL_GPIO_Init(GPIOB, &GPIO_InitStruct);

  /*Configure GPIO pin : VBUS_HS_Pin */
  GPIO_InitStruct.Pin = VBUS_HS_Pin;
  GPIO_InitStruct.Mode = GPIO_MODE_INPUT;
  GPIO_InitStruct.Pull = GPIO_NOPULL;
  HAL_GPIO_Init(VBUS_HS_GPIO_Port, &GPIO_InitStruct);

  /*Configure GPIO pins : OTG_HS_DM_Pin OTG_HS_DP_Pin */
  GPIO_InitStruct.Pin = OTG_HS_DM_Pin|OTG_HS_DP_Pin;
  GPIO_InitStruct.Mode = GPIO_MODE_AF_PP;
  GPIO_InitStruct.Pull = GPIO_NOPULL;
  GPIO_InitStruct.Speed = GPIO_SPEED_FREQ_LOW;
  GPIO_InitStruct.Alternate = GPIO_AF12_OTG_HS_FS;
  HAL_GPIO_Init(GPIOB, &GPIO_InitStruct);

  /*Configure GPIO pins : D13_Pin D14_Pin D15_Pin D0_Pin
                           D1_Pin D2_Pin D3_Pin */
  GPIO_InitStruct.Pin = D13_Pin|D14_Pin|D15_Pin|D0_Pin
                          |D1_Pin|D2_Pin|D3_Pin;
  GPIO_InitStruct.Mode = GPIO_MODE_AF_PP;
  GPIO_InitStruct.Pull = GPIO_NOPULL;
  GPIO_InitStruct.Speed = GPIO_SPEED_FREQ_VERY_HIGH;
  GPIO_InitStruct.Alternate = GPIO_AF12_FMC;
  HAL_GPIO_Init(GPIOD, &GPIO_InitStruct);

  /*Configure GPIO pin : TE_Pin */
  GPIO_InitStruct.Pin = TE_Pin;
  GPIO_InitStruct.Mode = GPIO_MODE_INPUT;
  GPIO_InitStruct.Pull = GPIO_NOPULL;
  HAL_GPIO_Init(TE_GPIO_Port, &GPIO_InitStruct);

  /*Configure GPIO pins : RDX_Pin WRX_DCX_Pin */
  GPIO_InitStruct.Pin = RDX_Pin|WRX_DCX_Pin;
  GPIO_InitStruct.Mode = GPIO_MODE_OUTPUT_PP;
  GPIO_InitStruct.Pull = GPIO_NOPULL;
  GPIO_InitStruct.Speed = GPIO_SPEED_FREQ_LOW;
  HAL_GPIO_Init(GPIOD, &GPIO_InitStruct);

  /*Configure GPIO pins : R7_Pin DOTCLK_Pin B3_Pin */
  GPIO_InitStruct.Pin = R7_Pin|DOTCLK_Pin|B3_Pin;
  GPIO_InitStruct.Mode = GPIO_MODE_AF_PP;
  GPIO_InitStruct.Pull = GPIO_NOPULL;
  GPIO_InitStruct.Speed = GPIO_SPEED_FREQ_LOW;
  GPIO_InitStruct.Alternate = GPIO_AF14_LTDC;
  HAL_GPIO_Init(GPIOG, &GPIO_InitStruct);

  /*Configure GPIO pins : G6_Pin R2_Pin */
  GPIO_InitStruct.Pin = G6_Pin|R2_Pin;
  GPIO_InitStruct.Mode = GPIO_MODE_AF_PP;
  GPIO_InitStruct.Pull = GPIO_NOPULL;
  GPIO_InitStruct.Speed = GPIO_SPEED_FREQ_LOW;
  GPIO_InitStruct.Alternate = GPIO_AF14_LTDC;
  HAL_GPIO_Init(GPIOC, &GPIO_InitStruct);

  /*Configure GPIO pin : I2C3_SDA_Pin */
  GPIO_InitStruct.Pin = I2C3_SDA_Pin;
  GPIO_InitStruct.Mode = GPIO_MODE_AF_OD;
  GPIO_InitStruct.Pull = GPIO_NOPULL;
  GPIO_InitStruct.Speed = GPIO_SPEED_FREQ_LOW;
  GPIO_InitStruct.Alternate = GPIO_AF4_I2C3;
  HAL_GPIO_Init(I2C3_SDA_GPIO_Port, &GPIO_InitStruct);

  /*Configure GPIO pins : G7_Pin B2_Pin */
  GPIO_InitStruct.Pin = G7_Pin|B2_Pin;
  GPIO_InitStruct.Mode = GPIO_MODE_AF_PP;
  GPIO_InitStruct.Pull = GPIO_NOPULL;
  GPIO_InitStruct.Speed = GPIO_SPEED_FREQ_LOW;
  GPIO_InitStruct.Alternate = GPIO_AF14_LTDC;
  HAL_GPIO_Init(GPIOD, &GPIO_InitStruct);

  /*Configure GPIO pins : G3_Pin B4_Pin */
  GPIO_InitStruct.Pin = G3_Pin|B4_Pin;
  GPIO_InitStruct.Mode = GPIO_MODE_AF_PP;
  GPIO_InitStruct.Pull = GPIO_NOPULL;
  GPIO_InitStruct.Speed = GPIO_SPEED_FREQ_LOW;
  GPIO_InitStruct.Alternate = GPIO_AF9_LTDC;
  HAL_GPIO_Init(GPIOG, &GPIO_InitStruct);

  /*Configure GPIO pins : LD3_Pin LD4_Pin */
  GPIO_InitStruct.Pin = LD3_Pin|LD4_Pin;
  GPIO_InitStruct.Mode = GPIO_MODE_OUTPUT_PP;
  GPIO_InitStruct.Pull = GPIO_NOPULL;
  GPIO_InitStruct.Speed = GPIO_SPEED_FREQ_LOW;
  HAL_GPIO_Init(GPIOG, &GPIO_InitStruct);

  /*Configure GPIO pins : SDCKE1_Pin SDNE1_Pin */
  GPIO_InitStruct.Pin = SDCKE1_Pin|SDNE1_Pin;
  GPIO_InitStruct.Mode = GPIO_MODE_AF_PP;
  GPIO_InitStruct.Pull = GPIO_NOPULL;
  GPIO_InitStruct.Speed = GPIO_SPEED_FREQ_VERY_HIGH;
  GPIO_InitStruct.Alternate = GPIO_AF12_FMC;
  HAL_GPIO_Init(GPIOB, &GPIO_InitStruct);

}

/* USER CODE BEGIN 4 */
void HAL_I2S_RxCpltCallback(I2S_HandleTypeDef *hi2s)
{
    if (hi2s->Instance == SPI2)
    {
    	callback_count++;  // ADD THIS
        // Put breakpoint here
    	for(uint32_t i=AUDIO_BUF_SIZE/2; i<AUDIO_BUF_SIZE;i++){
			audio_buff[i] = (float32_t)(raw_audio_i2s[i]>>8)/ 8388608.0f;
		 }
    	active_half = 1;
    	frame_ready_flag = 1;
    }
}

void HAL_I2S_RxHalfCpltCallback(I2S_HandleTypeDef *hi2s)
{
    if (hi2s->Instance == SPI2)
    {
    	callback_count++;  // ADD THIS
        // Optional breakpoint
    	for(uint32_t i=0; i<AUDIO_BUF_SIZE/2;i++){
    	    audio_buff[i] = (float32_t)(raw_audio_i2s[i]>>8)/ 8388608.0f;
    	 }
    	active_half = 0;
    	frame_ready_flag = 1;
    }
}
/* USER CODE END 4 */

void Error_Handler(void)
{
  __disable_irq();
  while (1)
  {
  }
}
